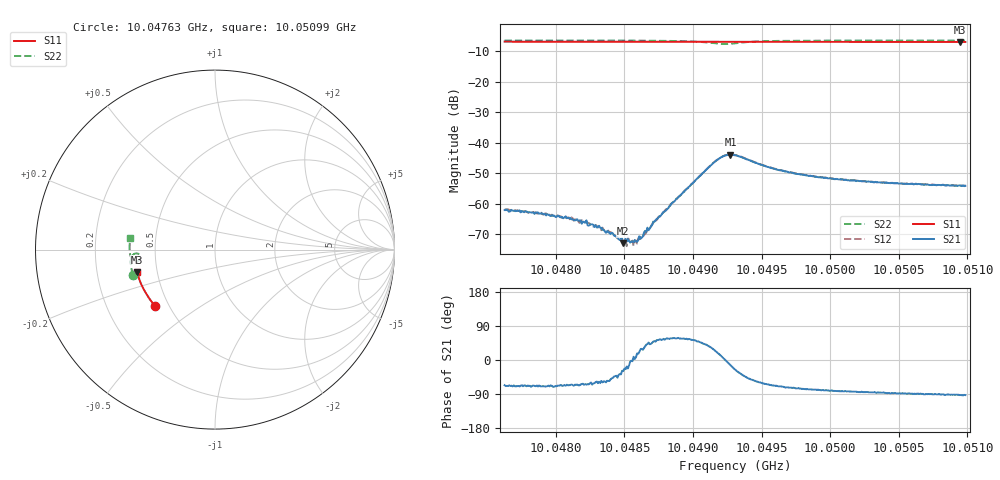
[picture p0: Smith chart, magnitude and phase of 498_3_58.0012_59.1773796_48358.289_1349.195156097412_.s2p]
#  HZ  S  RI  R  50.00
! Rohde & Schwarz Vector Network Analyzer
! Rohde-Schwarz,ZNB20-2Port,1311601062101988,3.16
! Created: UTC 3/21/2024, 1:12:40 AM
! freq[Hz]  re:S11  im:S11  re:S21  im:S21  re:S12  im:S12  re:S22  im:S22
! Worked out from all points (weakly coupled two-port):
!   401 points, 10.04763 GHz to 10.05099 GHz, reference 50 ohm
!   highest |S21| = -43.91 dB at 10.04927 GHz (marker M1); lowest = -73.0 dB at 10.04849 GHz (marker M2)
!   lowest |S11| = -6.9 dB at 10.05094 GHz (marker M3), VSWR 2.65, Z = 19.2 - j6.01 ohm
!   |S11| at or under -10 dB: nowhere
!   |S22| runs from -7.6 to -6.4 dB; largest |S21 - S12| = 0.00045
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1.0047626e10  -0.3328 -0.3147  0.000312 -0.000717  0.000378 -0.000716  -0.457 -0.1422
1.004787e10  -0.3434 -0.3024  0.000246 -0.00067  0.00029 -0.000615  -0.4612 -0.126
1.0048088e10  -0.3523 -0.2912  0.00023 -0.000535  0.000279 -0.000522  -0.4645 -0.1107
1.0048189e10  -0.3563 -0.2859  0.000207 -0.000419  0.000272 -0.000457  -0.4659 -0.1037
1.0048307e10  -0.361 -0.2797  0.000196 -0.000356  0.000218 -0.000349  -0.467 -0.0953
1.0048399e10  -0.3645 -0.2748  0.000199 -0.000246  0.000235 -0.000247  -0.4678 -0.0883
1.0048491e10  -0.368 -0.2697  0.000195 -0.000109  0.000218 -9.81e-05  -0.4687 -0.081
1.00485e10  -0.3683 -0.2694  0.000215 -8.92e-05  0.000209 -9.69e-05  -0.4688 -0.0804
1.0048542e10  -0.3699 -0.2671  0.000228 -1.88e-05  0.000228 2.98e-06  -0.4689 -0.077
1.004855e10  -0.3701 -0.2666  0.000239 -8.4e-06  0.000229 -6.97e-06  -0.469 -0.0763
1.0048584e10  -0.3713 -0.2646  0.000238 3.06e-05  0.000232 8.43e-05  -0.4691 -0.0736
1.0048642e10  -0.3735 -0.2614  0.000284 0.000176  0.000252 0.000172  -0.4692 -0.0685
1.0048752e10  -0.3774 -0.2556  0.000366 0.000491  0.000319 0.000524  -0.4686 -0.0587
1.0049155e10  -0.3907 -0.2325  0.00429 0.00216  0.00415 0.00245  -0.4308 -0.0221
1.0049213e10  -0.3922 -0.2292  0.00583 0.000781  0.00581 0.00115  -0.4179 -0.0335
1.0049272e10  -0.3941 -0.226  0.00619 -0.00153  0.00629 -0.00113  -0.4181 -0.0523
1.0049306e10  -0.3951 -0.2243  0.00563 -0.00263  0.00583 -0.00228  -0.4246 -0.0603
1.0049608e10  -0.4045 -0.2068  0.00136 -0.00337  0.00156 -0.00332  -0.4683 -0.0417
1.0049868e10  -0.4117 -0.1912  0.000586 -0.00278  0.000744 -0.00273  -0.4744 -0.0176
1.0050431e10  -0.4251 -0.1569  0.000106 -0.00217  0.000242 -0.00217  -0.4755 0.0252
1.0050943e10  -0.4346 -0.1247  -8.78e-05 -0.002  2e-05 -0.00197  -0.4722 0.0606
1.0050985e10  -0.4354 -0.1221  -8.75e-05 -0.00195  1.19e-05 -0.00196  -0.4717 0.0635
